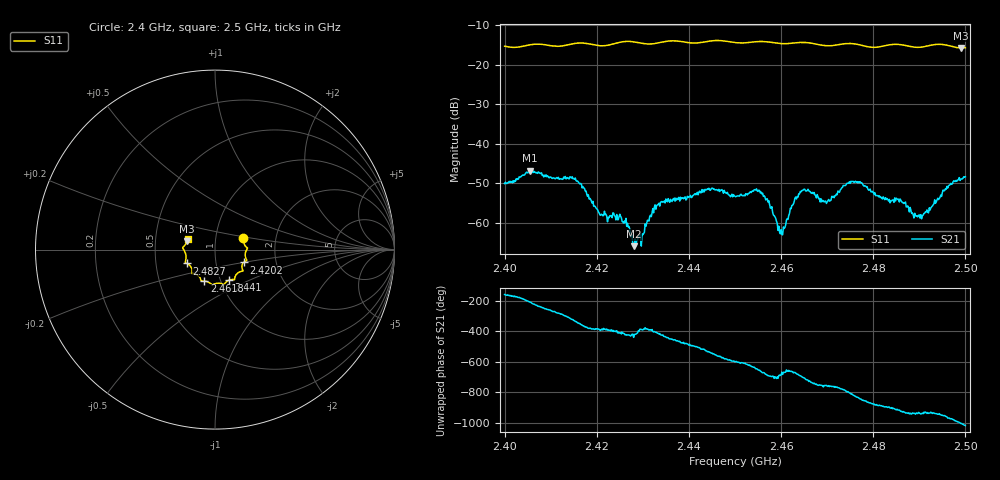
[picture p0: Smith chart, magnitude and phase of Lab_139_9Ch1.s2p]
# Hz S RI R 50
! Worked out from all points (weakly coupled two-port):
!   601 points, 2.4 GHz to 2.5 GHz, reference 50 ohm
!   highest |S21| = -46.87 dB at 2.4055 GHz (marker M1); lowest = -66.0 dB at 2.428 GHz (marker M2)
!   lowest |S11| = -15.8 dB at 2.499 GHz (marker M3), VSWR 1.39, Z = 36.4 + j3.45 ohm
!   |S11| at or under -10 dB: start of sweep to end of sweep
!   S12 and S22 are empty: the file has one direction only
!   S11 on the Smith chart (normalised r, x): 2.4 GHz: 1.36, +0.18; 2.4202 GHz: 1.36, -0.20; 2.441 GHz: 1.10, -0.39; 2.4618 GHz: 0.84, -0.30; 2.4827 GHz: 0.72, -0.11; 2.5 GHz: 0.73, +0.09
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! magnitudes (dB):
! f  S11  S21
! 2.4 GHz  -15.4  -50.1
! 2.4055 GHz  -15.0  -46.9
! 2.4167 GHz  -14.5  -50.3
! 2.4202 GHz  -15.2  -56.7
! 2.4255 GHz  -14.3  -59.7
! 2.428 GHz  -14.3  -66.0
! 2.4333 GHz  -14.5  -55.4
! 2.441 GHz  -14.6  -53.0
! 2.4447 GHz  -14.0  -51.8
! 2.45 GHz  -14.4  -53.3
! 2.4555 GHz  -14.2  -52.5
! 2.4598 GHz  -14.7  -62.8
! 2.4618 GHz  -14.6  -57.6
! 2.4643 GHz  -14.4  -52.2
! 2.4667 GHz  -14.6  -52.6
! 2.4703 GHz  -15.3  -54.1
! 2.4757 GHz  -14.7  -49.6
! 2.4827 GHz  -15.2  -53.7
! 2.4833 GHz  -15.0  -54.6
! 2.4902 GHz  -15.6  -58.8
! 2.499 GHz  -15.8  -49.0
! 2.5 GHz  -15.7  -48.4
